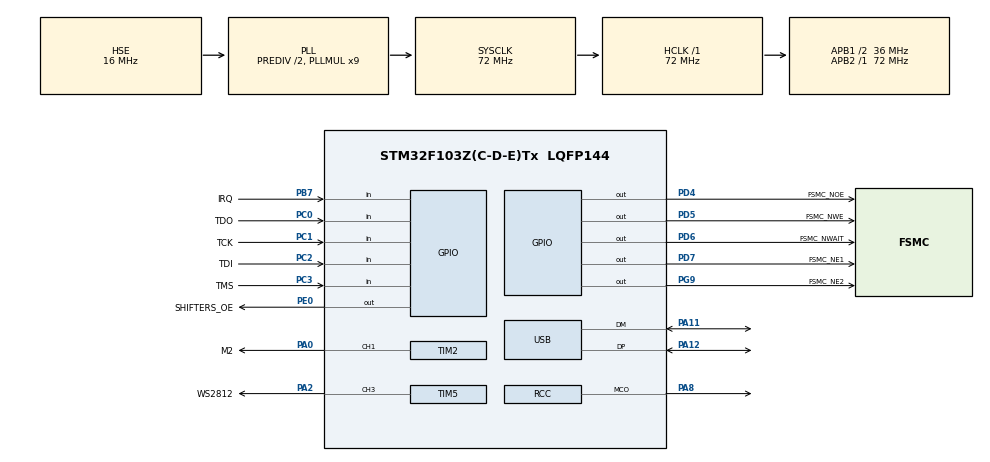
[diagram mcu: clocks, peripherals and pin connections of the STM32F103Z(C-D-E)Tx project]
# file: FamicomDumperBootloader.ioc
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Dma.Request0=TIM5_CH3/UP
Dma.TIM5_CH3/UP.0.Direction=DMA_MEMORY_TO_PERIPH
Dma.TIM5_CH3/UP.0.Instance=DMA2_Channel2
Dma.TIM5_CH3/UP.0.MemDataAlignment=DMA_MDATAALIGN_BYTE
Dma.TIM5_CH3/UP.0.MemInc=DMA_MINC_ENABLE
Dma.TIM5_CH3/UP.0.Mode=DMA_NORMAL
Dma.TIM5_CH3/UP.0.PeriphDataAlignment=DMA_PDATAALIGN_HALFWORD
Dma.TIM5_CH3/UP.0.PeriphInc=DMA_PINC_DISABLE
Dma.TIM5_CH3/UP.0.Priority=DMA_PRIORITY_VERY_HIGH
FATFS._MAX_SS=2048
FATFS._MIN_SS=2048
FATFS._STRF_ENCODE=0
FATFS._USE_FASTSEEK=0
FATFS._USE_LFN=0
FATFS._USE_MKFS=0
FATFS._WORD_ACCESS=1
Mcu.Family=STM32F1
Mcu.Name=STM32F103Z(C-D-E)Tx
Mcu.Package=LQFP144
NVIC.DMA2_Channel2_IRQn=true\:0\:0\:false\:false\:true\:false\:true\:true
NVIC.PriorityGroup=NVIC_PRIORITYGROUP_4
NVIC.USB_LP_CAN1_RX0_IRQn=true\:0\:0\:false\:false\:true\:false\:true\:true
OSC_IN.Mode=HSE-External-Oscillator
OSC_IN.Signal=RCC_OSC_IN
OSC_OUT.Mode=HSE-External-Oscillator
OSC_OUT.Signal=RCC_OSC_OUT
PA0-WKUP.GPIO_Label=M2
PA0-WKUP.Signal=S_TIM2_CH1_ETR
PA11.Mode=Device
PA11.Signal=USB_DM
PA12.Mode=Device
PA12.Signal=USB_DP
PA13.Mode=Trace_Asynchronous_SW
PA13.Signal=SYS_JTMS-SWDIO
PA14.Mode=Trace_Asynchronous_SW
PA14.Signal=SYS_JTCK-SWCLK
PA2.GPIO_Label=WS2812
PA2.Signal=S_TIM5_CH3
PA8.Mode=Clock-out
PA8.Signal=RCC_MCO
PB3.Mode=Trace_Asynchronous_SW
PB3.Signal=SYS_JTDO-TRACESWO
PB7.GPIO_Label=IRQ
PB7.GPIO_PuPd=GPIO_PULLUP
PB7.Signal=GPIO_Input
PC0.GPIO_Label=TDO
PC0.Signal=GPIO_Input
PC1.GPIO_Label=TCK
PC1.Signal=GPIO_Input
PC2.GPIO_Label=TDI
PC2.Signal=GPIO_Input
PC3.GPIO_Label=TMS
PC3.Signal=GPIO_Input
PD4.GPIO_Label=FSMC_NOE
PD4.PinState=GPIO_PIN_SET
PD4.Signal=GPIO_Output
PD5.GPIO_Label=FSMC_NWE
PD5.PinState=GPIO_PIN_SET
PD5.Signal=GPIO_Output
PD6.GPIO_Label=FSMC_NWAIT
PD6.PinState=GPIO_PIN_SET
PD6.Signal=GPIO_Output
PD7.GPIO_Label=FSMC_NE1
PD7.PinState=GPIO_PIN_SET
PD7.Signal=GPIO_Output
PE0.GPIO_Label=SHIFTERS_OE
PE0.PinState=GPIO_PIN_SET
PE0.Signal=GPIO_Output
PG9.GPIO_Label=FSMC_NE2
PG9.PinState=GPIO_PIN_SET
PG9.Signal=GPIO_Output
ProjectManager.HeapSize=0x200
ProjectManager.StackSize=0x400
ProjectManager.TargetToolchain=STM32CubeIDE
RCC.AHBFreq_Value=72000000
RCC.APB1CLKDivider=RCC_HCLK_DIV2
RCC.APB1Freq_Value=36000000
RCC.APB1TimFreq_Value=72000000
RCC.APB2Freq_Value=72000000
RCC.APB2TimFreq_Value=72000000
RCC.HCLKFreq_Value=72000000
RCC.HSEDivPLL=RCC_HSE_PREDIV_DIV2
RCC.HSE_VALUE=16000000
RCC.PLLMUL=RCC_PLL_MUL9
RCC.RCC_MCOSource=RCC_MCO1SOURCE_PLLCLK
RCC.SYSCLKFreq_VALUE=72000000
RCC.SYSCLKSource=RCC_SYSCLKSOURCE_PLLCLK
RCC.USBFreq_Value=48000000
RCC.USBPrescaler=RCC_USBCLKSOURCE_PLL_DIV1_5
SH.S_TIM2_CH1_ETR.0=TIM2_CH1,PWM Generation1 CH1
SH.S_TIM5_CH3.0=TIM5_CH3,PWM Generation3 CH3
TIM1.Prescaler=71
TIM2.Channel-PWM\ Generation1\ CH1=TIM_CHANNEL_1
TIM2.Period=39
TIM2.Prescaler=0
TIM2.Pulse-PWM\ Generation1\ CH1=19
TIM5.Channel-PWM\ Generation3\ CH3=TIM_CHANNEL_3
TIM5.Period=107
USB_DEVICE.CLASS_NAME_FS=MSC
USB_DEVICE.MANUFACTURER_STRING=Cluster
USB_DEVICE.MSC_MEDIA_PACKET=2048
USB_DEVICE.PID_MSC_FS=0xBABA
USB_DEVICE.PRODUCT_STRING_MSC_FS=Famicom Dumper/Writer Bootloader
USB_DEVICE.VID=0x1209
USB_DEVICE.VirtualMode=Msc
USB_DEVICE.VirtualModeFS=Msc_FS
VP_FATFS_VS_Generic.Mode=User_defined
VP_TIM1_VS_ClockSourceINT.Mode=Internal
VP_TIM2_VS_ClockSourceINT.Mode=Internal
VP_USB_DEVICE_VS_USB_DEVICE_MSC_FS.Mode=MSC_FS
board=custom

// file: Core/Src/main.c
/* USER CODE BEGIN Header */
/**
 ******************************************************************************
 * @file           : main.c
 * @brief          : Main program body
 ******************************************************************************
 * @attention
 *
 * <h2><center>&copy; Copyright (c) 2022 STMicroelectronics.
 * All rights reserved.</center></h2>
 *
 * This software component is licensed by ST under BSD 3-Clause license,
 * the "License"; You may not use this file except in compliance with the
 * License. You may obtain a copy of the License at:
 *                        opensource.org/licenses/BSD-3-Clause
 *
 ******************************************************************************
 */
/* USER CODE END Header */
#include "main.h"
#include "fatfs.h"
#include "usb_device.h"

/* USER CODE BEGIN Includes */
#include "bootloader.h"
#include "usbd_core.h"
#include "firmwriter.h"
#include "cpldwriter.h"
#include "led.h"
#include <string.h>
/* USER CODE END Includes */

TIM_HandleTypeDef htim1;
TIM_HandleTypeDef htim2;
TIM_HandleTypeDef htim5;
DMA_HandleTypeDef hdma_tim5_ch3_up;

/* USER CODE BEGIN PV */
extern USBD_HandleTypeDef hUsbDeviceFS;
uint32_t last_write_ts = 0;
/* USER CODE END PV */

void SystemClock_Config(void);
static void MX_GPIO_Init(void);
static void MX_DMA_Init(void);
static void MX_TIM5_Init(void);
static void MX_TIM2_Init(void);
static void MX_TIM1_Init(void);

/* USER CODE BEGIN 0 */

static void start_app(void)
{
  // App start address
  void (*jmp_to_app)(void) = (void (*)(void))(*((volatile uint32_t*)(APP_ADDRESS + 4)));
  // Vector table
  SCB->VTOR = APP_ADDRESS;
  // Stack pointer (to RAM) for USER app in this address
  __set_MSP(*((volatile uint32_t*) APP_ADDRESS));
  jmp_to_app();

  // Should not execute
  while (1)
  {}
}

void error(void)
{
  // Dispose resources, show red LED and stop
  f_mount(NULL, "", 1);
  HAL_FLASH_Lock();
  led_red();
  HAL_Delay(50);
  __disable_irq();
  while (1)
  {
  }
}

/* USER CODE END 0 */

int main(void)
{

  /* MCU Configuration--------------------------------------------------------*/

  /* Reset of all peripherals, Initializes the Flash interface and the Systick. */
  HAL_Init();

  /* Configure the system clock */
  SystemClock_Config();

  /* USER CODE BEGIN SysInit */
  // Pre-init
  MX_GPIO_Init();
  MX_DMA_Init();
  MX_TIM5_Init();
  MX_TIM2_Init();
  write_hardware_version();
  HAL_TIM_PWM_Start(&htim2, TIM_CHANNEL_1);
  HAL_Delay(10);
  // If IRQ pin not grounded - start app
#ifndef DEBUG
  if (HAL_GPIO_ReadPin(IRQ_GPIO_Port, IRQ_Pin)) start_app();
#endif
  // Green LED
  led_green();
  // Need to release pin during 1/2 second
  HAL_Delay(500);
  // If IRQ pin not released...
  if (!HAL_GPIO_ReadPin(IRQ_GPIO_Port, IRQ_Pin))
  {
    // Turn off the LED
    led_off();
    HAL_Delay(50);
    // Start app
    start_app();
  }
  /* USER CODE END SysInit */

  /* Initialize all configured peripherals */
  MX_GPIO_Init();
  MX_USB_DEVICE_Init();
  MX_DMA_Init();
  MX_TIM5_Init();
  MX_FATFS_Init();
  MX_TIM2_Init();
  MX_TIM1_Init();
  /* USER CODE BEGIN 2 */
  // Microsecond counter
  HAL_TIM_Base_Start(&htim1);
  // M2
  HAL_TIM_Base_Start(&htim2);
  // Yellow LED
  led_yellow();
  /* USER CODE END 2 */

  /* Infinite loop */
  /* USER CODE BEGIN WHILE */
  while (1)
  {
    // Check if last write operation was long time ago
    if (last_write_ts && (HAL_GetTick() - last_write_ts >= WRITE_TO_FLASH_TIME))
    {
      FILINFO fno;
      int usb_stopped = 0; // to prevent double deinit
      if (find_svf_file(&fno))
      {
        // White LED
        led_white();
        // Disable USB MSD
        USBD_DeInit(&hUsbDeviceFS);
        usb_stopped = 1;
        // Write firmware
        write_cpld(&fno);
        // Turn off the LED
        led_green();
        HAL_Delay(50);
        // Stop
      }
      if (find_bin_file(&fno))
      {
        // White LED
        led_white();
        // Disable USB MSD
        if (!usb_stopped) USBD_DeInit(&hUsbDeviceFS);
        // Write firmware
        write_firmware(&fno);
        // Turn off the LED
        led_green();
        HAL_Delay(50);
        // Stop
        __disable_irq();
        while (1)
        {
        }
      }

      last_write_ts = 0;
    }
    HAL_Delay(100);
    /* USER CODE END WHILE */

  }
}

void SystemClock_Config(void)
{
  RCC_OscInitTypeDef RCC_OscInitStruct = {0};
  RCC_ClkInitTypeDef RCC_ClkInitStruct = {0};
  RCC_PeriphCLKInitTypeDef PeriphClkInit = {0};

  /** Initializes the RCC Oscillators according to the specified parameters
  * in the RCC_OscInitTypeDef structure.
  */
  RCC_OscInitStruct.OscillatorType = RCC_OSCILLATORTYPE_HSE;
  RCC_OscInitStruct.HSEState = RCC_HSE_ON;
  RCC_OscInitStruct.HSEPredivValue = RCC_HSE_PREDIV_DIV2;
  RCC_OscInitStruct.HSIState = RCC_HSI_ON;
  RCC_OscInitStruct.PLL.PLLState = RCC_PLL_ON;
  RCC_OscInitStruct.PLL.PLLSource = RCC_PLLSOURCE_HSE;
  RCC_OscInitStruct.PLL.PLLMUL = RCC_PLL_MUL9;
  if (HAL_RCC_OscConfig(&RCC_OscInitStruct) != HAL_OK)
  {
    Error_Handler();
  }

  /** Initializes the CPU, AHB and APB buses clocks
  */
  RCC_ClkInitStruct.ClockType = RCC_CLOCKTYPE_HCLK|RCC_CLOCKTYPE_SYSCLK
                              |RCC_CLOCKTYPE_PCLK1|RCC_CLOCKTYPE_PCLK2;
  RCC_ClkInitStruct.SYSCLKSource = RCC_SYSCLKSOURCE_PLLCLK;
  RCC_ClkInitStruct.AHBCLKDivider = RCC_SYSCLK_DIV1;
  RCC_ClkInitStruct.APB1CLKDivider = RCC_HCLK_DIV2;
  RCC_ClkInitStruct.APB2CLKDivider = RCC_HCLK_DIV1;

  if (HAL_RCC_ClockConfig(&RCC_ClkInitStruct, FLASH_LATENCY_2) != HAL_OK)
  {
    Error_Handler();
  }
  PeriphClkInit.PeriphClockSelection = RCC_PERIPHCLK_USB;
  PeriphClkInit.UsbClockSelection = RCC_USBCLKSOURCE_PLL_DIV1_5;
  if (HAL_RCCEx_PeriphCLKConfig(&PeriphClkInit) != HAL_OK)
  {
    Error_Handler();
  }
  HAL_RCC_MCOConfig(RCC_MCO, RCC_MCO1SOURCE_PLLCLK, RCC_MCODIV_1);
}

static void MX_TIM1_Init(void)
{

  TIM_ClockConfigTypeDef sClockSourceConfig = {0};
  TIM_MasterConfigTypeDef sMasterConfig = {0};

  htim1.Instance = TIM1;
  htim1.Init.Prescaler = 71;
  htim1.Init.CounterMode = TIM_COUNTERMODE_UP;
  htim1.Init.Period = 65535;
  htim1.Init.ClockDivision = TIM_CLOCKDIVISION_DIV1;
  htim1.Init.RepetitionCounter = 0;
  htim1.Init.AutoReloadPreload = TIM_AUTORELOAD_PRELOAD_DISABLE;
  if (HAL_TIM_Base_Init(&htim1) != HAL_OK)
  {
    Error_Handler();
  }
  sClockSourceConfig.ClockSource = TIM_CLOCKSOURCE_INTERNAL;
  if (HAL_TIM_ConfigClockSource(&htim1, &sClockSourceConfig) != HAL_OK)
  {
    Error_Handler();
  }
  sMasterConfig.MasterOutputTrigger = TIM_TRGO_RESET;
  sMasterConfig.MasterSlaveMode = TIM_MASTERSLAVEMODE_DISABLE;
  if (HAL_TIMEx_MasterConfigSynchronization(&htim1, &sMasterConfig) != HAL_OK)
  {
    Error_Handler();
  }

}

static void MX_TIM2_Init(void)
{

  TIM_ClockConfigTypeDef sClockSourceConfig = {0};
  TIM_MasterConfigTypeDef sMasterConfig = {0};
  TIM_OC_InitTypeDef sConfigOC = {0};

  htim2.Instance = TIM2;
  htim2.Init.Prescaler = 0;
  htim2.Init.CounterMode = TIM_COUNTERMODE_UP;
  htim2.Init.Period = 39;
  htim2.Init.ClockDivision = TIM_CLOCKDIVISION_DIV1;
  htim2.Init.AutoReloadPreload = TIM_AUTORELOAD_PRELOAD_DISABLE;
  if (HAL_TIM_Base_Init(&htim2) != HAL_OK)
  {
    Error_Handler();
  }
  sClockSourceConfig.ClockSource = TIM_CLOCKSOURCE_INTERNAL;
  if (HAL_TIM_ConfigClockSource(&htim2, &sClockSourceConfig) != HAL_OK)
  {
    Error_Handler();
  }
  if (HAL_TIM_PWM_Init(&htim2) != HAL_OK)
  {
    Error_Handler();
  }
  sMasterConfig.MasterOutputTrigger = TIM_TRGO_RESET;
  sMasterConfig.MasterSlaveMode = TIM_MASTERSLAVEMODE_DISABLE;
  if (HAL_TIMEx_MasterConfigSynchronization(&htim2, &sMasterConfig) != HAL_OK)
  {
    Error_Handler();
  }
  sConfigOC.OCMode = TIM_OCMODE_PWM1;
  sConfigOC.Pulse = 19;
  sConfigOC.OCPolarity = TIM_OCPOLARITY_HIGH;
  sConfigOC.OCFastMode = TIM_OCFAST_DISABLE;
  if (HAL_TIM_PWM_ConfigChannel(&htim2, &sConfigOC, TIM_CHANNEL_1) != HAL_OK)
  {
    Error_Handler();
  }
  HAL_TIM_MspPostInit(&htim2);

}

static void MX_TIM5_Init(void)
{

  TIM_MasterConfigTypeDef sMasterConfig = {0};
  TIM_OC_InitTypeDef sConfigOC = {0};

  htim5.Instance = TIM5;
  htim5.Init.Prescaler = 0;
  htim5.Init.CounterMode = TIM_COUNTERMODE_UP;
  htim5.Init.Period = 107;
  htim5.Init.ClockDivision = TIM_CLOCKDIVISION_DIV1;
  htim5.Init.AutoReloadPreload = TIM_AUTORELOAD_PRELOAD_DISABLE;
  if (HAL_TIM_PWM_Init(&htim5) != HAL_OK)
  {
    Error_Handler();
  }
  sMasterConfig.MasterOutputTrigger = TIM_TRGO_RESET;
  sMasterConfig.MasterSlaveMode = TIM_MASTERSLAVEMODE_DISABLE;
  if (HAL_TIMEx_MasterConfigSynchronization(&htim5, &sMasterConfig) != HAL_OK)
  {
    Error_Handler();
  }
  sConfigOC.OCMode = TIM_OCMODE_PWM1;
  sConfigOC.Pulse = 0;
  sConfigOC.OCPolarity = TIM_OCPOLARITY_HIGH;
  sConfigOC.OCFastMode = TIM_OCFAST_DISABLE;
  if (HAL_TIM_PWM_ConfigChannel(&htim5, &sConfigOC, TIM_CHANNEL_3) != HAL_OK)
  {
    Error_Handler();
  }
  HAL_TIM_MspPostInit(&htim5);

}

static void MX_DMA_Init(void)
{

  /* DMA controller clock enable */
  __HAL_RCC_DMA2_CLK_ENABLE();

  /* DMA interrupt init */
  /* DMA2_Channel2_IRQn interrupt configuration */
  HAL_NVIC_SetPriority(DMA2_Channel2_IRQn, 0, 0);
  HAL_NVIC_EnableIRQ(DMA2_Channel2_IRQn);

}

static void MX_GPIO_Init(void)
{
  GPIO_InitTypeDef GPIO_InitStruct = {0};

  /* GPIO Ports Clock Enable */
  __HAL_RCC_GPIOC_CLK_ENABLE();
  __HAL_RCC_GPIOA_CLK_ENABLE();
  __HAL_RCC_GPIOD_CLK_ENABLE();
  __HAL_RCC_GPIOG_CLK_ENABLE();
  __HAL_RCC_GPIOB_CLK_ENABLE();
  __HAL_RCC_GPIOE_CLK_ENABLE();

  /*Configure GPIO pin Output Level */
  HAL_GPIO_WritePin(GPIOD, FSMC_NOE_Pin|FSMC_NWE_Pin|FSMC_NWAIT_Pin|FSMC_NE1_Pin, GPIO_PIN_SET);

  /*Configure GPIO pin Output Level */
  HAL_GPIO_WritePin(FSMC_NE2_GPIO_Port, FSMC_NE2_Pin, GPIO_PIN_SET);

  /*Configure GPIO pin Output Level */
  HAL_GPIO_WritePin(SHIFTERS_OE_GPIO_Port, SHIFTERS_OE_Pin, GPIO_PIN_SET);

  /*Configure GPIO pins : TDO_Pin TCK_Pin TDI_Pin TMS_Pin */
  GPIO_InitStruct.Pin = TDO_Pin|TCK_Pin|TDI_Pin|TMS_Pin;
  GPIO_InitStruct.Mode = GPIO_MODE_INPUT;
  GPIO_InitStruct.Pull = GPIO_NOPULL;
  HAL_GPIO_Init(GPIOC, &GPIO_InitStruct);

  /*Configure GPIO pin : PA8 */
  GPIO_InitStruct.Pin = GPIO_PIN_8;
  GPIO_InitStruct.Mode = GPIO_MODE_AF_PP;
  GPIO_InitStruct.Speed = GPIO_SPEED_FREQ_LOW;
  HAL_GPIO_Init(GPIOA, &GPIO_InitStruct);

  /*Configure GPIO pins : FSMC_NOE_Pin FSMC_NWE_Pin FSMC_NWAIT_Pin FSMC_NE1_Pin */
  GPIO_InitStruct.Pin = FSMC_NOE_Pin|FSMC_NWE_Pin|FSMC_NWAIT_Pin|FSMC_NE1_Pin;
  GPIO_InitStruct.Mode = GPIO_MODE_OUTPUT_PP;
  GPIO_InitStruct.Pull = GPIO_NOPULL;
  GPIO_InitStruct.Speed = GPIO_SPEED_FREQ_LOW;
  HAL_GPIO_Init(GPIOD, &GPIO_InitStruct);

  /*Configure GPIO pin : FSMC_NE2_Pin */
  GPIO_InitStruct.Pin = FSMC_NE2_Pin;
  GPIO_InitStruct.Mode = GPIO_MODE_OUTPUT_PP;
  GPIO_InitStruct.Pull = GPIO_NOPULL;
  GPIO_InitStruct.Speed = GPIO_SPEED_FREQ_LOW;
  HAL_GPIO_Init(FSMC_NE2_GPIO_Port, &GPIO_InitStruct);

  /*Configure GPIO pin : IRQ_Pin */
  GPIO_InitStruct.Pin = IRQ_Pin;
  GPIO_InitStruct.Mode = GPIO_MODE_INPUT;
  GPIO_InitStruct.Pull = GPIO_PULLUP;
  HAL_GPIO_Init(IRQ_GPIO_Port, &GPIO_InitStruct);

  /*Configure GPIO pin : SHIFTERS_OE_Pin */
  GPIO_InitStruct.Pin = SHIFTERS_OE_Pin;
  GPIO_InitStruct.Mode = GPIO_MODE_OUTPUT_PP;
  GPIO_InitStruct.Pull = GPIO_NOPULL;
  GPIO_InitStruct.Speed = GPIO_SPEED_FREQ_LOW;
  HAL_GPIO_Init(SHIFTERS_OE_GPIO_Port, &GPIO_InitStruct);

}

void Error_Handler(void)
{
  __disable_irq();
  while (1)
  {
  }
}
